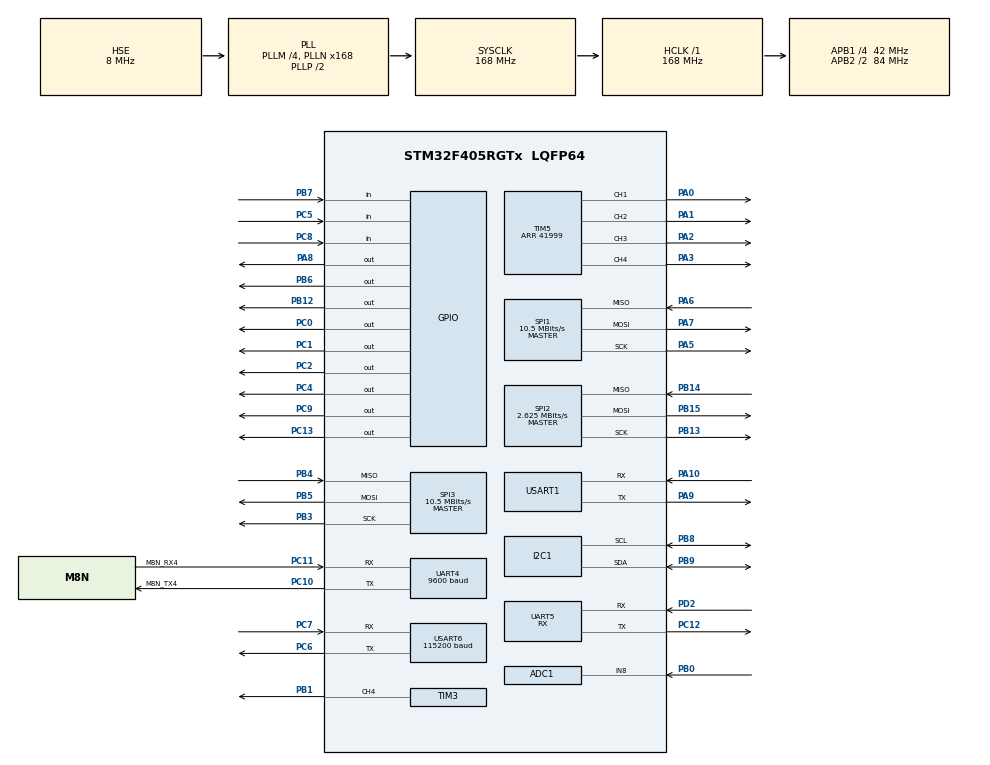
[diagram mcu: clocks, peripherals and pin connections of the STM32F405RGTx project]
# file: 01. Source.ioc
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ADC1.Channel-0\#ChannelRegularConversion=ADC_CHANNEL_8
ADC1.ClockPrescaler=ADC_CLOCK_SYNC_PCLK_DIV8
ADC1.ContinuousConvMode=ENABLE
ADC1.DMAContinuousRequests=ENABLE
ADC1.NbrOfConversion=1
ADC1.NbrOfConversionFlag=1
ADC1.Rank-0\#ChannelRegularConversion=1
ADC1.SamplingTime-0\#ChannelRegularConversion=ADC_SAMPLETIME_480CYCLES
ADC1.master=1
Dma.ADC1.0.Direction=DMA_PERIPH_TO_MEMORY
Dma.ADC1.0.FIFOMode=DMA_FIFOMODE_DISABLE
Dma.ADC1.0.Instance=DMA2_Stream0
Dma.ADC1.0.MemDataAlignment=DMA_MDATAALIGN_HALFWORD
Dma.ADC1.0.MemInc=DMA_MINC_DISABLE
Dma.ADC1.0.Mode=DMA_CIRCULAR
Dma.ADC1.0.PeriphDataAlignment=DMA_PDATAALIGN_HALFWORD
Dma.ADC1.0.PeriphInc=DMA_PINC_DISABLE
Dma.ADC1.0.Priority=DMA_PRIORITY_LOW
Dma.Request0=ADC1
I2C1.I2C_Mode=I2C_Fast
Mcu.Family=STM32F4
Mcu.Name=STM32F405RGTx
Mcu.Package=LQFP64
NVIC.DMA2_Stream0_IRQn=true\:0\:0\:false\:false\:true\:false\:true
NVIC.PriorityGroup=NVIC_PRIORITYGROUP_4
NVIC.TIM7_IRQn=true\:0\:0\:false\:false\:true\:true\:true
NVIC.UART4_IRQn=true\:0\:0\:false\:false\:true\:true\:true
NVIC.UART5_IRQn=true\:0\:0\:false\:false\:true\:true\:true
NVIC.USART1_IRQn=true\:0\:0\:false\:false\:true\:true\:true
NVIC.USART6_IRQn=true\:0\:0\:false\:false\:true\:true\:true
PA0-WKUP.Signal=S_TIM5_CH1
PA1.Signal=S_TIM5_CH2
PA10.Mode=Asynchronous
PA10.Signal=USART1_RX
PA2.Signal=S_TIM5_CH3
PA3.Signal=S_TIM5_CH4
PA5.Mode=Full_Duplex_Master
PA5.Signal=SPI1_SCK
PA6.Mode=Full_Duplex_Master
PA6.Signal=SPI1_MISO
PA7.Mode=Full_Duplex_Master
PA7.Signal=SPI1_MOSI
PA8.Signal=GPIO_Output
PA9.Mode=Asynchronous
PA9.Signal=USART1_TX
PB0.Signal=ADCx_IN8
PB1.Signal=S_TIM3_CH4
PB12.Signal=GPIO_Output
PB13.Mode=Full_Duplex_Master
PB13.Signal=SPI2_SCK
PB14.Mode=Full_Duplex_Master
PB14.Signal=SPI2_MISO
PB15.Mode=Full_Duplex_Master
PB15.Signal=SPI2_MOSI
PB3.Mode=Full_Duplex_Master
PB3.Signal=SPI3_SCK
PB4.Mode=Full_Duplex_Master
PB4.Signal=SPI3_MISO
PB5.Mode=Full_Duplex_Master
PB5.Signal=SPI3_MOSI
PB6.Signal=GPIO_Output
PB7.Signal=GPIO_Input
PB8.Mode=I2C
PB8.Signal=I2C1_SCL
PB9.Mode=I2C
PB9.Signal=I2C1_SDA
PC0.Signal=GPIO_Output
PC1.Signal=GPIO_Output
PC10.GPIO_Label=M8N_TX4
PC10.Mode=Asynchronous
PC10.Signal=UART4_TX
PC11.GPIO_Label=M8N_RX4
PC11.Mode=Asynchronous
PC11.Signal=UART4_RX
PC12.Mode=Asynchronous
PC12.Signal=UART5_TX
PC13-ANTI_TAMP.PinState=GPIO_PIN_SET
PC13-ANTI_TAMP.Signal=GPIO_Output
PC2.Signal=GPIO_Output
PC4.Signal=GPIO_Output
PC5.Signal=GPIO_Input
PC6.Mode=Asynchronous
PC6.Signal=USART6_TX
PC7.Mode=Asynchronous
PC7.Signal=USART6_RX
PC8.Signal=GPIO_Input
PC9.Signal=GPIO_Output
PD2.Mode=Asynchronous
PD2.Signal=UART5_RX
PH0-OSC_IN.Mode=HSE-External-Oscillator
PH0-OSC_IN.Signal=RCC_OSC_IN
PH1-OSC_OUT.Mode=HSE-External-Oscillator
PH1-OSC_OUT.Signal=RCC_OSC_OUT
ProjectManager.HeapSize=0x200
ProjectManager.StackSize=0x400
ProjectManager.TargetToolchain=STM32CubeIDE
RCC.48MHZClocksFreq_Value=84000000
RCC.AHBFreq_Value=168000000
RCC.APB1CLKDivider=RCC_HCLK_DIV4
RCC.APB1Freq_Value=42000000
RCC.APB1TimFreq_Value=84000000
RCC.APB2CLKDivider=RCC_HCLK_DIV2
RCC.APB2Freq_Value=84000000
RCC.APB2TimFreq_Value=168000000
RCC.CortexFreq_Value=168000000
RCC.HCLKFreq_Value=168000000
RCC.HSE_VALUE=8000000
RCC.HSI_VALUE=16000000
RCC.LSE_VALUE=32768
RCC.PLLM=4
RCC.PLLN=168
RCC.PLLSourceVirtual=RCC_PLLSOURCE_HSE
RCC.SYSCLKFreq_VALUE=168000000
RCC.SYSCLKSource=RCC_SYSCLKSOURCE_PLLCLK
RCC.VCOOutputFreq_Value=336000000
SH.ADCx_IN8.0=ADC1_IN8,IN8
SH.S_TIM3_CH4.0=TIM3_CH4,PWM Generation4 CH4
SH.S_TIM5_CH1.0=TIM5_CH1,PWM Generation1 CH1
SH.S_TIM5_CH2.0=TIM5_CH2,PWM Generation2 CH2
SH.S_TIM5_CH3.0=TIM5_CH3,PWM Generation3 CH3
SH.S_TIM5_CH4.0=TIM5_CH4,PWM Generation4 CH4
SPI1.BaudRatePrescaler=SPI_BAUDRATEPRESCALER_8
SPI1.CLKPhase=SPI_PHASE_2EDGE
SPI1.CLKPolarity=SPI_POLARITY_HIGH
SPI1.CalculateBaudRate=10.5 MBits/s
SPI1.Direction=SPI_DIRECTION_2LINES
SPI1.Mode=SPI_MODE_MASTER
SPI1.VirtualType=VM_MASTER
SPI2.BaudRatePrescaler=SPI_BAUDRATEPRESCALER_16
SPI2.CLKPhase=SPI_PHASE_2EDGE
SPI2.CLKPolarity=SPI_POLARITY_HIGH
SPI2.CalculateBaudRate=2.625 MBits/s
SPI2.Direction=SPI_DIRECTION_2LINES
SPI2.Mode=SPI_MODE_MASTER
SPI2.VirtualType=VM_MASTER
SPI3.BaudRatePrescaler=SPI_BAUDRATEPRESCALER_4
SPI3.CLKPhase=SPI_PHASE_2EDGE
SPI3.CLKPolarity=SPI_POLARITY_HIGH
SPI3.CalculateBaudRate=10.5 MBits/s
SPI3.Direction=SPI_DIRECTION_2LINES
SPI3.Mode=SPI_MODE_MASTER
SPI3.VirtualType=VM_MASTER
TIM3.AutoReloadPreload=TIM_AUTORELOAD_PRELOAD_ENABLE
TIM3.Channel-PWM\ Generation4\ CH4=TIM_CHANNEL_4
TIM3.OCFastMode_PWM-PWM\ Generation4\ CH4=TIM_OCFAST_ENABLE
TIM3.Period=20
TIM3.Prescaler=999
TIM3.Pulse-PWM\ Generation4\ CH4=10
TIM5.AutoReloadPreload=TIM_AUTORELOAD_PRELOAD_ENABLE
TIM5.Channel-PWM\ Generation1\ CH1=TIM_CHANNEL_1
TIM5.Channel-PWM\ Generation2\ CH2=TIM_CHANNEL_2
TIM5.Channel-PWM\ Generation3\ CH3=TIM_CHANNEL_3
TIM5.Channel-PWM\ Generation4\ CH4=TIM_CHANNEL_4
TIM5.OC2Preload_PWM=ENABLE
TIM5.OCFastMode_PWM-PWM\ Generation1\ CH1=TIM_OCFAST_ENABLE
TIM5.OCFastMode_PWM-PWM\ Generation2\ CH2=TIM_OCFAST_ENABLE
TIM5.OCFastMode_PWM-PWM\ Generation3\ CH3=TIM_OCFAST_ENABLE
TIM5.OCFastMode_PWM-PWM\ Generation4\ CH4=TIM_OCFAST_ENABLE
TIM5.Period=41999
TIM5.Pulse-PWM\ Generation1\ CH1=0
TIM5.Pulse-PWM\ Generation2\ CH2=0
TIM5.Pulse-PWM\ Generation3\ CH3=0
TIM7.AutoReloadPreload=TIM_AUTORELOAD_PRELOAD_ENABLE
TIM7.Period=1
TIM7.Prescaler=41999
UART4.BaudRate=9600
UART4.VirtualMode=Asynchronous
UART5.Mode=MODE_RX
UART5.VirtualMode=Asynchronous
USART1.VirtualMode=VM_ASYNC
USART6.BaudRate=115200
USART6.VirtualMode=VM_ASYNC
VP_TIM3_VS_ClockSourceINT.Mode=Internal
VP_TIM5_VS_ClockSourceINT.Mode=Internal
VP_TIM7_VS_ClockSourceINT.Mode=Enable_Timer
board=custom

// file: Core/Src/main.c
/* USER CODE BEGIN Header */
/**
  ******************************************************************************
  * @file           : main.c
  * @brief          : Main program body
  ******************************************************************************
  * @attention
  *
  * <h2><center>&copy; Copyright (c) 2020 STMicroelectronics.
  * All rights reserved.</center></h2>
  *
  * This software component is licensed by ST under BSD 3-Clause license,
  * the "License"; You may not use this file except in compliance with the
  * License. You may obtain a copy of the License at:
  *                        opensource.org/licenses/BSD-3-Clause
  *
  ******************************************************************************
  */
/* USER CODE END Header */

#include "main.h"
#include "adc.h"
#include "dma.h"
#include "i2c.h"
#include "spi.h"
#include "tim.h"
#include "usart.h"
#include "gpio.h"

/* USER CODE BEGIN Includes */
#include "BNO080.h"
#include "Quaternion.h"
#include "ICM20602.h"
#include "LPS22HH.h"
#include "M8N.h"
#include "FS-iA6B.h"
#include "AT24C08.h"
#include <string.h>
/* USER CODE END Includes */

/* USER CODE BEGIN PTD */
int _write(int file, char* p, int len)
{
	for(int i=0;i<len;i++)
	{
		while(!LL_USART_IsActiveFlag_TXE(USART6));
		LL_USART_TransmitData8(USART6,*(p+i));
	}
	return len;
}
/* USER CODE END PTD */

/* USER CODE BEGIN PV */
extern M8N_UBX_NAV_POSLLH posllh;
extern uint8_t	uart6_rx_flag;
extern uint8_t 	uart6_rx_data;
extern uint8_t	uart4_rx_flag;
extern uint8_t 	uart4_rx_data;
extern uint8_t m8n_rx_buf[36];
extern uint8_t m8n_rx_cplt_flag;
extern uint8_t ibus_rx_buf[32];
extern uint8_t ibus_rx_cplt_flag;
extern uint8_t uart1_rx_data;
extern uint8_t tim7_20ms_flag;
extern uint8_t tim7_100ms_flag;

uint8_t telemetry_tx_buf[40];
uint8_t telemetry_rx_buf[20];
uint8_t telemetry_rx_cplt_flag;
float batVolt;

float roll_in_kp;
float roll_in_ki;
float roll_in_kd;

float roll_out_kp;
float roll_out_ki;
float roll_out_kd;

float pitch_in_kp;
float pitch_in_ki;
float pitch_in_kd;

float pitch_out_kp;
float pitch_out_ki;
float pitch_out_kd;

float yaw_heading_kp;
float yaw_heading_ki;
float yaw_heading_kd;

float yaw_rate_kp;
float yaw_rate_ki;
float yaw_rate_kd;
/* USER CODE END PV */

void SystemClock_Config(void);
/* USER CODE BEGIN PFP */
int Is_iBus_Throttle_Min(void);
void ESC_Calibration(void);
int Is_iBus_Received(void);
void BNO080_Calibration(void);
void Encode_Msg_AHRS(unsigned char* telemetry_tx_buf);
void Encode_Msg_GPS(unsigned char* telemetry_tx_buf);
void Encode_Msg_PID_Gain(unsigned char* telemetry_tx_buf, unsigned char id, float p, float i, float d);
/* USER CODE END PFP */

int main(void)
{
  /* USER CODE BEGIN 1 */
	float q[4];
	float quatRadianAccuray;
	unsigned char buf_read[16] = {0};
	unsigned char buf_write[20] = {1, 2, 3, 4, 5, 6, 7, 8, 9, 10, 11, 12, 13, 14, 15, 16};
	unsigned short adcVal;
	short gyro_x_offset = -39, gyro_y_offset = -7, gyro_z_offset = -5;

	unsigned char motor_arming_flag = 0;
	unsigned short iBus_SwA_Prev = 0;
  /* USER CODE END 1 */

  /* MCU Configuration--------------------------------------------------------*/

  /* Reset of all peripherals, Initializes the Flash interface and the Systick. */
  HAL_Init();

  /* Configure the system clock */
  SystemClock_Config();

  /* Initialize all configured peripherals */
  MX_GPIO_Init();
  MX_DMA_Init();
  MX_TIM3_Init();
  MX_USART6_UART_Init();
  MX_SPI2_Init();
  MX_SPI1_Init();
  MX_SPI3_Init();
  MX_UART4_Init();
  MX_UART5_Init();
  MX_TIM5_Init();
  MX_I2C1_Init();
  MX_ADC1_Init();
  MX_USART1_UART_Init();
  MX_TIM7_Init();
  /* USER CODE BEGIN 2 */
  LL_TIM_EnableCounter(TIM3); // Buzzer

  LL_USART_EnableIT_RXNE(USART6); // Debug UART
  LL_USART_EnableIT_RXNE(UART4); // GPS
  LL_USART_EnableIT_RXNE(UART5); // FS-iA6B

  LL_TIM_EnableCounter(TIM5); // Motor PWM
  LL_TIM_CC_EnableChannel(TIM5, LL_TIM_CHANNEL_CH1);
  LL_TIM_CC_EnableChannel(TIM5, LL_TIM_CHANNEL_CH2);
  LL_TIM_CC_EnableChannel(TIM5, LL_TIM_CHANNEL_CH3);
  LL_TIM_CC_EnableChannel(TIM5, LL_TIM_CHANNEL_CH4);

  HAL_ADC_Start_DMA(&hadc1, &adcVal, 1); // Battery ADC

  //after calling this func at this point, callback function of rxreceived will start to be called when UART RX received.
  //so, this line is just a preparation... (nothing received here, of course)
  // GCS - PC 3DR Telemetry UART
  HAL_UART_Receive_IT(&huart1, &uart1_rx_data, 1); // Telemetry

  LL_TIM_EnableCounter(TIM7); // 10Hz, 50Hz, 1kHz loop
  LL_TIM_EnableIT_UPDATE(TIM7);

  TIM3->PSC = 1000;
  LL_TIM_CC_EnableChannel(TIM3, LL_TIM_CHANNEL_CH4);
  HAL_Delay(60);
  LL_TIM_CC_DisableChannel(TIM3, LL_TIM_CHANNEL_CH4);
  HAL_Delay(60);
  LL_TIM_CC_EnableChannel(TIM3, LL_TIM_CHANNEL_CH4);
  HAL_Delay(60);
  LL_TIM_CC_DisableChannel(TIM3, LL_TIM_CHANNEL_CH4);
  HAL_Delay(60);
  printf("Checking sensor connection..\n");

  if(BNO080_Initialization() != 0)
  {
	  LL_TIM_CC_EnableChannel(TIM3, LL_TIM_CHANNEL_CH4);

	  TIM3->PSC = 1000;
	  HAL_Delay(100);
	  TIM3->PSC=1500;
	  HAL_Delay(100);
	  TIM3->PSC=2000;
	  HAL_Delay(100);

	  LL_TIM_CC_DisableChannel(TIM3, LL_TIM_CHANNEL_CH4);

	  printf("\nBNO080 failed. Program shutting down...");
	  while(1)
	  {
		  LL_TIM_CC_DisableChannel(TIM3, LL_TIM_CHANNEL_CH4);
		  LL_GPIO_TogglePin(GPIOC, LL_GPIO_PIN_0);
		  HAL_Delay(200);
		  LL_TIM_CC_EnableChannel(TIM3, LL_TIM_CHANNEL_CH4);
		  LL_GPIO_TogglePin(GPIOC, LL_GPIO_PIN_0);
		  HAL_Delay(200);
	  }
  }
  BNO080_enableGameRotationVector(2500); // 400 times per sec

  if(ICM20602_Initialization() != 0)
  {
	  LL_TIM_CC_EnableChannel(TIM3, LL_TIM_CHANNEL_CH4);

	  TIM3->PSC = 1000;
	  HAL_Delay(100);
	  TIM3->PSC=1500;
	  HAL_Delay(100);
	  TIM3->PSC=2000;
	  HAL_Delay(100);

	  LL_TIM_CC_DisableChannel(TIM3, LL_TIM_CHANNEL_CH4);

	  printf("\nICM20602 failed. Program shutting down...");
	  while(1)
	  {
		  LL_TIM_CC_DisableChannel(TIM3, LL_TIM_CHANNEL_CH4);
		  LL_GPIO_TogglePin(GPIOC, LL_GPIO_PIN_1);
		  HAL_Delay(200);
		  LL_TIM_CC_EnableChannel(TIM3, LL_TIM_CHANNEL_CH4);
		  LL_GPIO_TogglePin(GPIOC, LL_GPIO_PIN_1);
		  HAL_Delay(200);
	  }
  }
  if(LPS22HH_Initialization() != 0)
  {
	  LL_TIM_CC_EnableChannel(TIM3, LL_TIM_CHANNEL_CH4);

	  TIM3->PSC = 1000;
	  HAL_Delay(100);
	  TIM3->PSC=1500;
	  HAL_Delay(100);
	  TIM3->PSC=2000;
	  HAL_Delay(100);

	  LL_TIM_CC_DisableChannel(TIM3, LL_TIM_CHANNEL_CH4);

	  printf("\nLPS22HH failed. Program shutting down...");
	  while(1)
	  {
		  LL_TIM_CC_DisableChannel(TIM3, LL_TIM_CHANNEL_CH4);
		  LL_GPIO_TogglePin(GPIOC, LL_GPIO_PIN_2);
		  HAL_Delay(200);
		  LL_TIM_CC_EnableChannel(TIM3, LL_TIM_CHANNEL_CH4);
		  LL_GPIO_TogglePin(GPIOC, LL_GPIO_PIN_2);
		  HAL_Delay(200);
	  }
  }

  printf("All sensor OK!\n\n");

  M8N_UBX_Initialization();

  // ICM20602 offset calibration//
  // ICM20602 chip's address is organised 8bit-unit as Big Endian type
  // it is valid that "value*-2" is supposed to be saved in the address (don't know the reason)
  ICM20602_Writebyte(0x13, (gyro_x_offset*-2)>>8);
  ICM20602_Writebyte(0x14, (gyro_x_offset*-2));
  ICM20602_Writebyte(0x15, (gyro_y_offset*-2)>>8);
  ICM20602_Writebyte(0x16, (gyro_y_offset*-2));
  ICM20602_Writebyte(0x17, (gyro_z_offset*-2)>>8);
  ICM20602_Writebyte(0x18, (gyro_z_offset*-2));

  printf("Loading PID Gain...\n");

  if(EP_PIDGain_Read(0, &roll_in_kp, &roll_in_ki, &roll_in_kd) != 0 ||
		  EP_PIDGain_Read(1, &roll_out_kp, &roll_out_ki, &roll_out_kd) != 0 ||
		  EP_PIDGain_Read(2, &pitch_in_kp, &pitch_in_ki, &pitch_in_kd) != 0 ||
		  EP_PIDGain_Read(3, &pitch_out_kp, &pitch_out_ki, &pitch_out_kd) != 0 ||
		  EP_PIDGain_Read(4, &yaw_heading_kp, &yaw_heading_ki, &yaw_heading_kd) != 0 ||
		  EP_PIDGain_Read(5, &yaw_rate_kp, &yaw_rate_ki, &yaw_rate_kd) != 0)
  {
	  LL_TIM_CC_EnableChannel(TIM3, LL_TIM_CHANNEL_CH4);

	  TIM3->PSC = 1000;
	  HAL_Delay(100);
	  TIM3->PSC=1500;
	  HAL_Delay(100);
	  TIM3->PSC=2000;
	  HAL_Delay(100);

	  LL_TIM_CC_DisableChannel(TIM3, LL_TIM_CHANNEL_CH4);

	  HAL_Delay(500);
	  printf("\nCouldn't load PID gain.\n");
  }
  else
  {
	  Encode_Msg_PID_Gain(&telemetry_tx_buf[0], 0, roll_in_kp, roll_in_ki, roll_in_kd);
	  HAL_UART_Transmit(&huart1, &telemetry_tx_buf[0], 20, 10);
	  Encode_Msg_PID_Gain(&telemetry_tx_buf[0], 1, roll_out_kp, roll_out_ki, roll_out_kd);
	  HAL_UART_Transmit(&huart1, &telemetry_tx_buf[0], 20, 10);
	  Encode_Msg_PID_Gain(&telemetry_tx_buf[0], 2, pitch_in_kp, pitch_in_ki, pitch_in_kd);
	  HAL_UART_Transmit(&huart1, &telemetry_tx_buf[0], 20, 10);
	  Encode_Msg_PID_Gain(&telemetry_tx_buf[0], 3, pitch_out_kp, pitch_out_ki, pitch_out_kd);
	  HAL_UART_Transmit(&huart1, &telemetry_tx_buf[0], 20, 10);
	  Encode_Msg_PID_Gain(&telemetry_tx_buf[0], 4, yaw_heading_kp, yaw_heading_ki, yaw_heading_kd);
	  HAL_UART_Transmit(&huart1, &telemetry_tx_buf[0], 20, 10);
	  Encode_Msg_PID_Gain(&telemetry_tx_buf[0], 5, yaw_rate_kp, yaw_rate_ki, yaw_rate_kd);
	  HAL_UART_Transmit(&huart1, &telemetry_tx_buf[0], 20, 10);
	  printf("\nAll gains OK!\n\n");
  }

  while(Is_iBus_Received() == 0)
  {
	  LL_TIM_CC_EnableChannel(TIM3, LL_TIM_CHANNEL_CH4);

	  TIM3->PSC=3000;
	  HAL_Delay(200);
	  LL_TIM_CC_DisableChannel(TIM3, LL_TIM_CHANNEL_CH4);
	  HAL_Delay(200);
  }
  if(iBus.SwC == 2000)
  {
	  LL_TIM_CC_EnableChannel(TIM3, LL_TIM_CHANNEL_CH4);

	  TIM3->PSC = 1500;
	  HAL_Delay(200);
	  TIM3->PSC = 2000;
	  HAL_Delay(200);
	  TIM3->PSC = 1500;
	  HAL_Delay(200);
	  TIM3->PSC = 2000;
	  HAL_Delay(200);
	  LL_TIM_CC_DisableChannel(TIM3, LL_TIM_CHANNEL_CH4);

	  ESC_Calibration();
	  while(iBus.SwC != 1000)
	  {
		  Is_iBus_Received();
		  LL_TIM_CC_EnableChannel(TIM3, LL_TIM_CHANNEL_CH4);

		  TIM3->PSC = 1500;
		  HAL_Delay(200);
		  TIM3->PSC = 2000;
		  HAL_Delay(200);
		  LL_TIM_CC_DisableChannel(TIM3, LL_TIM_CHANNEL_CH4);
	  }
  }
  else if(iBus.SwC == 1500)
  {
	  LL_TIM_CC_EnableChannel(TIM3, LL_TIM_CHANNEL_CH4);

	  TIM3->PSC = 1500;
	  HAL_Delay(200);
	  TIM3->PSC = 2000;
	  HAL_Delay(200);
	  TIM3->PSC = 1500;
	  HAL_Delay(200);
	  TIM3->PSC = 2000;
	  HAL_Delay(200);
	  LL_TIM_CC_DisableChannel(TIM3, LL_TIM_CHANNEL_CH4);

	  BNO080_Calibration();
	  while(iBus.SwC != 1000)
	  {
		  Is_iBus_Received();
		  LL_TIM_CC_EnableChannel(TIM3, LL_TIM_CHANNEL_CH4);

		  TIM3->PSC = 1500;
		  HAL_Delay(200);
		  TIM3->PSC = 2000;
		  HAL_Delay(200);
		  LL_TIM_CC_DisableChannel(TIM3, LL_TIM_CHANNEL_CH4);
	  }
  }

  while(Is_iBus_Throttle_Min() == 0 || iBus.SwA == 2000) // Protect from switch A in driving mode when booting
  {
	  LL_TIM_CC_EnableChannel(TIM3, LL_TIM_CHANNEL_CH4);

	  TIM3->PSC = 1000;
	  HAL_Delay(70);
	  LL_TIM_CC_DisableChannel(TIM3, LL_TIM_CHANNEL_CH4);
	  HAL_Delay(70);
  }

  LL_TIM_CC_EnableChannel(TIM3, LL_TIM_CHANNEL_CH4);

  TIM3->PSC = 2000; // 2kHz
  HAL_Delay(100);
  TIM3->PSC=1500;  // 3kHz
  HAL_Delay(100);
  TIM3->PSC=1000; // 4kHz
  HAL_Delay(100);

  LL_TIM_CC_DisableChannel(TIM3, LL_TIM_CHANNEL_CH4);

  printf("Start\n");

  /* USER CODE END 2 */

  /* Infinite loop */
  while (1)
  {

    /* USER CODE BEGIN 3 */
	  // Motor PWM Control - Arming
	  if (iBus.SwA == 2000 && iBus_SwA_Prev != 2000) // a little bit motor driving in order to alert arming mode to user when switch A is on
	  {
		  if (iBus.LV < 1010)
		  {
			  motor_arming_flag = 1;
		  }
		  else // buzzer
		  {
			  LL_TIM_CC_EnableChannel(TIM3, LL_TIM_CHANNEL_CH4);

			  TIM3->PSC = 1000;
			  HAL_Delay(70);
			  LL_TIM_CC_DisableChannel(TIM3, LL_TIM_CHANNEL_CH4);
			  HAL_Delay(70);
		  }
	  }
	  iBus_SwA_Prev = iBus.SwA;

	  if (iBus.SwA != 2000) //Disarming
	  {
		  // motor stop
		  motor_arming_flag = 0;
	  }

	  if (motor_arming_flag == 1)
	  {
		  TIM5->CCR1 = 10500 + 500 + (iBus.LV - 1000) * 10.5f;
		  TIM5->CCR2 = 10500 + 500 + (iBus.LV - 1000) * 10.5f;
		  TIM5->CCR3 = 10500 + 500 + (iBus.LV - 1000) * 10.5f;
		  TIM5->CCR4 = 10500 + 500 + (iBus.LV - 1000) * 10.5f;
	  }
	  else
	  {
		  TIM5->CCR1 = 10500;
		  TIM5->CCR2 = 10500;
		  TIM5->CCR3 = 10500;
		  TIM5->CCR4 = 10500;
	  }

	  if(telemetry_rx_cplt_flag == 1) //Receive GCS Message
	  {
		  telemetry_rx_cplt_flag = 0;

		  if(iBus.SwA == 1000) //Check FS-i6 Switch A
		  {
			  unsigned char chksum = 0xff;
			  for(int i=0;i<19;i++) chksum = chksum - telemetry_rx_buf[i];

			  if(chksum == telemetry_rx_buf[19]) //Check checksum of GCS Message
			  {
				  LL_TIM_CC_EnableChannel(TIM3, LL_TIM_CHANNEL_CH4);

				  TIM3->PSC = 1000;
				  HAL_Delay(10);

				  LL_TIM_CC_DisableChannel(TIM3, LL_TIM_CHANNEL_CH4);

				  switch(telemetry_rx_buf[2]) //Check ID of GCS Message
				  {
				  case 0:
					  roll_in_kp = *(float*)&telemetry_rx_buf[3];
					  roll_in_ki = *(float*)&telemetry_rx_buf[7];
					  roll_in_kd = *(float*)&telemetry_rx_buf[11];
					  EP_PIDGain_Write(telemetry_rx_buf[2], 3, 4, 5);
					  EP_PIDGain_Read(telemetry_rx_buf[2], &roll_in_kp, &roll_in_ki, &roll_in_kd);
					  Encode_Msg_PID_Gain(&telemetry_tx_buf[0], telemetry_rx_buf[2], roll_in_kp, roll_in_ki, roll_in_kd);
					  HAL_UART_Transmit_IT(&huart1, &telemetry_tx_buf[0], 20);
					  break;
				  case 1:
					  roll_out_kp = *(float*)&telemetry_rx_buf[3];
					  roll_out_ki = *(float*)&telemetry_rx_buf[7];
					  roll_out_kd = *(float*)&telemetry_rx_buf[11];
					  EP_PIDGain_Write(telemetry_rx_buf[2], roll_out_kp, roll_out_ki, roll_out_kd);
					  EP_PIDGain_Read(telemetry_rx_buf[2], &roll_out_kp, &roll_out_ki, &roll_out_kd);
					  Encode_Msg_PID_Gain(&telemetry_tx_buf[0], telemetry_rx_buf[2], roll_out_kp, roll_out_ki, roll_out_kd);
					  HAL_UART_Transmit_IT(&huart1, &telemetry_tx_buf[0], 20);
					  break;
				  case 2:
					  pitch_in_kp = *(float*)&telemetry_rx_buf[3];
					  pitch_in_ki = *(float*)&telemetry_rx_buf[7];
					  pitch_in_kd = *(float*)&telemetry_rx_buf[11];
					  EP_PIDGain_Write(telemetry_rx_buf[2], pitch_in_kp, pitch_in_ki, pitch_in_kd);
					  EP_PIDGain_Read(telemetry_rx_buf[2], &pitch_in_kp, &pitch_in_ki, &pitch_in_kd);
					  Encode_Msg_PID_Gain(&telemetry_tx_buf[0], telemetry_rx_buf[2], pitch_in_kp, pitch_in_ki, pitch_in_kd);
					  HAL_UART_Transmit_IT(&huart1, &telemetry_tx_buf[0], 20);
					  break;
				  case 3:
					  pitch_out_kp = *(float*)&telemetry_rx_buf[3];
					  pitch_out_ki = *(float*)&telemetry_rx_buf[7];
					  pitch_out_kd = *(float*)&telemetry_rx_buf[11];
					  EP_PIDGain_Write(telemetry_rx_buf[2], pitch_out_kp, pitch_out_ki, pitch_out_kd);
					  EP_PIDGain_Read(telemetry_rx_buf[2], &pitch_out_kp, &pitch_out_ki, &pitch_out_kd);
					  Encode_Msg_PID_Gain(&telemetry_tx_buf[0], telemetry_rx_buf[2], pitch_out_kp, pitch_out_ki, pitch_out_kd);
					  HAL_UART_Transmit_IT(&huart1, &telemetry_tx_buf[0], 20);
					  break;
				  case 4:
					  yaw_heading_kp = *(float*)&telemetry_rx_buf[3];
					  yaw_heading_ki = *(float*)&telemetry_rx_buf[7];
					  yaw_heading_kd = *(float*)&telemetry_rx_buf[11];
					  EP_PIDGain_Write(telemetry_rx_buf[2], yaw_heading_kp, yaw_heading_ki, yaw_heading_kd);
					  EP_PIDGain_Read(telemetry_rx_buf[2], &yaw_heading_kp, &yaw_heading_ki, &yaw_heading_kd);
					  Encode_Msg_PID_Gain(&telemetry_tx_buf[0], telemetry_rx_buf[2], yaw_heading_kp, yaw_heading_ki, yaw_heading_kd);
					  HAL_UART_Transmit_IT(&huart1, &telemetry_tx_buf[0], 20);
					  break;
				  case 5:
					  yaw_rate_kp = *(float*)&telemetry_rx_buf[3];
					  yaw_rate_ki = *(float*)&telemetry_rx_buf[7];
					  yaw_rate_kd = *(float*)&telemetry_rx_buf[11];
					  EP_PIDGain_Write(telemetry_rx_buf[2], yaw_rate_kp, yaw_rate_ki, yaw_rate_kd);
					  EP_PIDGain_Read(telemetry_rx_buf[2], &yaw_rate_kp, &yaw_rate_ki, &yaw_rate_kd);
					  Encode_Msg_PID_Gain(&telemetry_tx_buf[0], telemetry_rx_buf[2], yaw_rate_kp, yaw_rate_ki, yaw_rate_kd);
					  HAL_UART_Transmit_IT(&huart1, &telemetry_tx_buf[0], 20);
					  break;
				  case 0x10:
					  switch(telemetry_rx_buf[3]) //Check PID Gain ID of GCS PID Gain Request Message
					  {
					  case 0:
						  Encode_Msg_PID_Gain(&telemetry_tx_buf[0], telemetry_rx_buf[3], roll_in_kp, roll_in_ki, roll_in_kd);
						  HAL_UART_Transmit(&huart1, &telemetry_tx_buf[0], 20, 10);
						  break;
					  case 1:
						  Encode_Msg_PID_Gain(&telemetry_tx_buf[0], telemetry_rx_buf[3], roll_out_kp, roll_out_ki, roll_out_kd);
						  HAL_UART_Transmit(&huart1, &telemetry_tx_buf[0], 20, 10);
						  break;
					  case 2:
						  Encode_Msg_PID_Gain(&telemetry_tx_buf[0], telemetry_rx_buf[3], pitch_in_kp, pitch_in_ki, pitch_in_kd);
						  HAL_UART_Transmit(&huart1, &telemetry_tx_buf[0], 20, 10);
						  break;
					  case 3:
						  Encode_Msg_PID_Gain(&telemetry_tx_buf[0], telemetry_rx_buf[3], pitch_out_kp, pitch_out_ki, pitch_out_kd);
						  HAL_UART_Transmit(&huart1, &telemetry_tx_buf[0], 20, 10);
						  break;
					  case 4:
						  Encode_Msg_PID_Gain(&telemetry_tx_buf[0], telemetry_rx_buf[3], yaw_heading_kp, yaw_heading_ki, yaw_heading_kd);
						  HAL_UART_Transmit(&huart1, &telemetry_tx_buf[0], 20, 10);
						  break;
					  case 5:
						  Encode_Msg_PID_Gain(&telemetry_tx_buf[0], telemetry_rx_buf[3], yaw_rate_kp, yaw_rate_ki, yaw_rate_kd);
						  HAL_UART_Transmit(&huart1, &telemetry_tx_buf[0], 20, 10);
						  break;
					  case 6:
						  Encode_Msg_PID_Gain(&telemetry_tx_buf[0], 0, roll_in_kp, roll_in_ki, roll_in_kd);
						  HAL_UART_Transmit(&huart1, &telemetry_tx_buf[0], 20, 10);
						  Encode_Msg_PID_Gain(&telemetry_tx_buf[0], 1, roll_out_kp, roll_out_ki, roll_out_kd);
						  HAL_UART_Transmit(&huart1, &telemetry_tx_buf[0], 20, 10);
						  Encode_Msg_PID_Gain(&telemetry_tx_buf[0], 2, pitch_in_kp, pitch_in_ki, pitch_in_kd);
						  HAL_UART_Transmit(&huart1, &telemetry_tx_buf[0], 20, 10);
						  Encode_Msg_PID_Gain(&telemetry_tx_buf[0], 3, pitch_out_kp, pitch_out_ki, pitch_out_kd);
						  HAL_UART_Transmit(&huart1, &telemetry_tx_buf[0], 20, 10);
						  Encode_Msg_PID_Gain(&telemetry_tx_buf[0], 4, yaw_heading_kp, yaw_heading_ki, yaw_heading_kd);
						  HAL_UART_Transmit(&huart1, &telemetry_tx_buf[0], 20, 10);
						  Encode_Msg_PID_Gain(&telemetry_tx_buf[0], 5, yaw_rate_kp, yaw_rate_ki, yaw_rate_kd);
						  HAL_UART_Transmit(&huart1, &telemetry_tx_buf[0], 20, 10);
						  break;
					  }
					  break;

				  }
			  }
		  }
	  }

	  if(tim7_20ms_flag == 1 && tim7_100ms_flag != 1) // To handle non-blocking methond (Transmit_IT)
	  {
		  tim7_20ms_flag = 0;
		  // protecting from missing received message for GCS, gap between TX sending is determined as 20ms
		  Encode_Msg_AHRS(&telemetry_tx_buf[0]);
		  HAL_UART_Transmit_IT(&huart1, &telemetry_tx_buf[0], 20);
	  }

	  else if(tim7_20ms_flag == 1 && tim7_100ms_flag == 1) // To handle non-blocking methond (Transmit_IT)
	  {
		  tim7_20ms_flag = 0;
		  tim7_100ms_flag = 0;

		  Encode_Msg_AHRS(&telemetry_tx_buf[0]);
		  Encode_Msg_GPS(&telemetry_tx_buf[20]);

		  HAL_UART_Transmit_IT(&huart1, &telemetry_tx_buf[0], 40);
	  }

	  batVolt = adcVal * 0.003619f;
	  //printf("Battery V: (ADC) %d  (REAL) %.2f\n", adcVal, batVolt);
	  if(batVolt <10.0f)
	  {
		  //TIM3->PSC = 1000;
		  //LL_TIM_CC_EnableChannel(TIM3, LL_TIM_CHANNEL_CH4);
	  }
	  else
	  {
		  LL_TIM_CC_DisableChannel(TIM3, LL_TIM_CHANNEL_CH4);
	  }

	  if(BNO080_dataAvailable() == 1)
	  {
		  LL_GPIO_TogglePin(GPIOC, LL_GPIO_PIN_0);
		  q[0] = BNO080_getQuatI();
		  q[1] = BNO080_getQuatJ();
		  q[2] = BNO080_getQuatK();
		  q[3] = BNO080_getQuatReal();
		  quatRadianAccuray = BNO080_getQuatAccuracy();

		  Quaternion_Update(&q[0]);

//		  printf("%.2f\t%.2f\n", BNO080_Roll, BNO080_Pitch);
//		  printf("%.2f\n", BNO080_Yaw);
	  }
	  if(ICM20602_DataReady() == 1)
	  {
		  ICM20602_Get3AxisGyroRawData(&ICM20602.gyro_x_raw);

		  ICM20602.gyro_x = ICM20602.gyro_x_raw = 2000.f / 32768.f;
		  ICM20602.gyro_y = ICM20602.gyro_y_raw = 2000.f / 32768.f;
		  ICM20602.gyro_z = ICM20602.gyro_z_raw = 2000.f / 32768.f;

		  //printf("%d, %d, %d\n", ICM20602.gyro_x_raw, ICM20602.gyro_y_raw, ICM20602.gyro_z_raw);
		  //printf("%d, %d, %d\n", (int)(ICM20602.gyro_x*100), (int)(ICM20602.gyro_y*100), (int)(ICM20602.gyro_z*100));
	  }
	  if(LPS22HH_DataReady() == 1)
	  {
		  LPS22HH_GetPressure(&LPS22HH.pressure_raw);
		  LPS22HH_GetTemperature(&LPS22HH.temperature_raw);

		  LPS22HH.baroAlt = getAltitude2(LPS22HH.pressure_raw/4096.f, LPS22HH.temperature_raw/100.f);
#define X 0.90f
		  LPS22HH.baroAltFilt = LPS22HH.baroAltFilt * X + LPS22HH.baroAlt * (1.0f - X);

		  //printf("%d, %d\n", (int)(LPS22HH.baroAlt*100),(int)(LPS22HH.baroAltFilt*100));
	  }

	  if(m8n_rx_cplt_flag == 1)
	  {
		  m8n_rx_cplt_flag = 0;

		  if(M8N_UBX_CHKSUM_Check(&m8n_rx_buf[0],36) == 1)
		  {
			  LL_GPIO_TogglePin(GPIOC, LL_GPIO_PIN_2);
			  M8N_UBX_NAV_POSLLH_Parsing(&m8n_rx_buf[0],&posllh);

			  //printf("LAT: %ld\tLON: %ld\tHeight: %ld\n", posllh.lat, posllh.lon, posllh.height);
		  }
	  }

	  if(ibus_rx_cplt_flag == 1)
	  {
		  ibus_rx_cplt_flag = 0;
		  if(iBus_Check_CHKSUM(&ibus_rx_buf[0],32) == 1)
		  {
			  LL_GPIO_TogglePin(GPIOC, LL_GPIO_PIN_2);

			  iBus_Parsing(&ibus_rx_buf[0], &iBus);

			  if(iBus_isActiveFailsafe(&iBus) == 1)
			  {
				  LL_TIM_CC_EnableChannel(TIM3, LL_TIM_CHANNEL_CH4);
			  }
			  else
			  {
				  LL_TIM_CC_DisableChannel(TIM3, LL_TIM_CHANNEL_CH4);
			  }
//			  printf("%d\t%d\t%d\t%d\t%d\t%d\n",
//					  iBus.RH, iBus.RV, iBus.LV, iBus.LH, iBus.SwA, iBus.SwC);
//			  HAL_Delay(30);
		  }
	  }
  }
  /* USER CODE END 3 */
}

void SystemClock_Config(void)
{
  RCC_OscInitTypeDef RCC_OscInitStruct = {0};
  RCC_ClkInitTypeDef RCC_ClkInitStruct = {0};

  /** Configure the main internal regulator output voltage
  */
  __HAL_RCC_PWR_CLK_ENABLE();
  __HAL_PWR_VOLTAGESCALING_CONFIG(PWR_REGULATOR_VOLTAGE_SCALE1);
  /** Initializes the CPU, AHB and APB busses clocks
  */
  RCC_OscInitStruct.OscillatorType = RCC_OSCILLATORTYPE_HSE;
  RCC_OscInitStruct.HSEState = RCC_HSE_ON;
  RCC_OscInitStruct.PLL.PLLState = RCC_PLL_ON;
  RCC_OscInitStruct.PLL.PLLSource = RCC_PLLSOURCE_HSE;
  RCC_OscInitStruct.PLL.PLLM = 4;
  RCC_OscInitStruct.PLL.PLLN = 168;
  RCC_OscInitStruct.PLL.PLLP = RCC_PLLP_DIV2;
  RCC_OscInitStruct.PLL.PLLQ = 4;
  if (HAL_RCC_OscConfig(&RCC_OscInitStruct) != HAL_OK)
  {
    Error_Handler();
  }
  /** Initializes the CPU, AHB and APB busses clocks
  */
  RCC_ClkInitStruct.ClockType = RCC_CLOCKTYPE_HCLK|RCC_CLOCKTYPE_SYSCLK
                              |RCC_CLOCKTYPE_PCLK1|RCC_CLOCKTYPE_PCLK2;
  RCC_ClkInitStruct.SYSCLKSource = RCC_SYSCLKSOURCE_PLLCLK;
  RCC_ClkInitStruct.AHBCLKDivider = RCC_SYSCLK_DIV1;
  RCC_ClkInitStruct.APB1CLKDivider = RCC_HCLK_DIV4;
  RCC_ClkInitStruct.APB2CLKDivider = RCC_HCLK_DIV2;

  if (HAL_RCC_ClockConfig(&RCC_ClkInitStruct, FLASH_LATENCY_5) != HAL_OK)
  {
    Error_Handler();
  }
}

/* USER CODE BEGIN 4 */
int Is_iBus_Throttle_Min(void)
{
	if(ibus_rx_cplt_flag == 1)
	{
		ibus_rx_cplt_flag = 0;
		if(iBus_Check_CHKSUM(&ibus_rx_buf[0],32) == 1)
		{
			iBus_Parsing(&ibus_rx_buf[0], &iBus);
			if(iBus.LV < 1010) return 1;

		}
	}

	return 0;
}

void ESC_Calibration(void)
{
	  TIM5->CCR1 = 21000;
	  TIM5->CCR2 = 21000;
	  TIM5->CCR3 = 21000;
	  TIM5->CCR4 = 21000;
	  HAL_Delay(7000);
	  TIM5->CCR1 = 10500;
	  TIM5->CCR2 = 10500;
	  TIM5->CCR3 = 10500;
	  TIM5->CCR4 = 10500;
	  HAL_Delay(8000);
}

int Is_iBus_Received(void)
{
	if(ibus_rx_cplt_flag == 1)
	{
		ibus_rx_cplt_flag = 0;
		if(iBus_Check_CHKSUM(&ibus_rx_buf[0],32) == 1)
		{
			iBus_Parsing(&ibus_rx_buf[0], &iBus);
			return 1;
		}
	}

	return 0;
}

void BNO080_Calibration(void)
{
	//Resets BNO080 to disable All output
	BNO080_Initialization();

	//BNO080/BNO085 Configuration
	//Enable dynamic calibration for accelerometer, gyroscope, and magnetometer
	//Enable Game Rotation Vector output
	//Enable Magnetic Field output
	BNO080_calibrateAll(); //Turn on cal for Accel, Gyro, and Mag
	BNO080_enableGameRotationVector(20000); //Send data update every 20ms (50Hz)
	BNO080_enableMagnetometer(20000); //Send data update every 20ms (50Hz)

	//Once magnetic field is 2 or 3, run the Save DCD Now command
  	printf("Calibrating BNO080. Pull up FS-i6 SWC to end calibration and save to flash\n");
  	printf("Output in form x, y, z, in uTesla\n\n");

	//while loop for calibration procedure
	//Iterates until iBus.SwC is mid point (1500)
	//Calibration procedure should be done while this loop is in iteration.
	while(iBus.SwC == 1500)
	{
		if(BNO080_dataAvailable() == 1)
		{
			//Observing the status bit of the magnetic field output
			float x = BNO080_getMagX();
			float y = BNO080_getMagY();
			float z = BNO080_getMagZ();
			unsigned char accuracy = BNO080_getMagAccuracy();

			float quatI = BNO080_getQuatI();
			float quatJ = BNO080_getQuatJ();
			float quatK = BNO080_getQuatK();
			float quatReal = BNO080_getQuatReal();
			unsigned char sensorAccuracy = BNO080_getQuatAccuracy();

			printf("%f,%f,%f,", x, y, z);
			if (accuracy == 0) printf("Unreliable\t");
			else if (accuracy == 1) printf("Low\t");
			else if (accuracy == 2) printf("Medium\t");
			else if (accuracy == 3) printf("High\t");

			printf("\t%f,%f,%f,%f,", quatI, quatJ, quatK, quatReal);
			if (sensorAccuracy == 0) printf("Unreliable\n");
			else if (sensorAccuracy == 1) printf("Low\n");
			else if (sensorAccuracy == 2) printf("Medium\n");
			else if (sensorAccuracy == 3) printf("High\n");

			//Turn the LED and buzzer on when both accuracy and sensorAccuracy is high
			if(accuracy == 3 && sensorAccuracy == 3)
			{
				LL_GPIO_SetOutputPin(GPIOC, LL_GPIO_PIN_0 | LL_GPIO_PIN_1 | LL_GPIO_PIN_2);
				TIM3->PSC = 65000; //Very low frequency
				LL_TIM_CC_EnableChannel(TIM3, LL_TIM_CHANNEL_CH4);
			}
			else
			{
				LL_GPIO_ResetOutputPin(GPIOC, LL_GPIO_PIN_0 | LL_GPIO_PIN_1 | LL_GPIO_PIN_2);
				LL_TIM_CC_DisableChannel(TIM3, LL_TIM_CHANNEL_CH4);
			}
		}

		Is_iBus_Received(); //Refreshes iBus Data for iBus.SwC
		HAL_Delay(100);
	}

	//Ends the loop when iBus.SwC is not mid point
	//Turn the LED and buzzer off
	LL_GPIO_ResetOutputPin(GPIOC, LL_GPIO_PIN_0 | LL_GPIO_PIN_1 | LL_GPIO_PIN_2);
	LL_TIM_CC_DisableChannel(TIM3, LL_TIM_CHANNEL_CH4);

	//Saves the current dynamic calibration data (DCD) to memory
	//Sends command to get the latest calibration status
	BNO080_saveCalibration();
	BNO080_requestCalibrationStatus();

	//Wait for calibration response, timeout if no response
	int counter = 100;
	while(1)
	{
		if(--counter == 0) break;
		if(BNO080_dataAvailable())
		{
			//The IMU can report many different things. We must wait
			//for the ME Calibration Response Status byte to go to zero
			if(BNO080_calibrationComplete() == 1)
			{
				printf("\nCalibration data successfully stored\n");
				LL_TIM_CC_EnableChannel(TIM3, LL_TIM_CHANNEL_CH4);
				TIM3->PSC = 2000;
				HAL_Delay(300);
				TIM3->PSC = 1500;
				HAL_Delay(300);
				LL_TIM_CC_DisableChannel(TIM3, LL_TIM_CHANNEL_CH4);
				HAL_Delay(1000);
				break;
			}
		}
		HAL_Delay(10);
	}
	if(counter == 0)
	{
		printf("\nCalibration data failed to store. Please try again.\n");
		LL_TIM_CC_EnableChannel(TIM3, LL_TIM_CHANNEL_CH4);
		TIM3->PSC = 1500;
		HAL_Delay(300);
		TIM3->PSC = 2000;
		HAL_Delay(300);
		LL_TIM_CC_DisableChannel(TIM3, LL_TIM_CHANNEL_CH4);
		HAL_Delay(1000);
	}

	//BNO080_endCalibration(); //Turns off all calibration
	//In general, calibration should be left on at all times. The BNO080
	//auto-calibrates and auto-records cal data roughly every 5 minutes

	//Resets BNO080 to disable Game Rotation Vector and Magnetometer
	//Enables Rotation Vector
	BNO080_Initialization();
	BNO080_enableRotationVector(2500); //Send data update every 2.5ms (400Hz)
}

void HAL_UART_RxCpltCallback(UART_HandleTypeDef *huart)
{
	// GCS
	static unsigned char cnt = 0;

	if(huart->Instance == USART1)
	{
		// receive data to second argument, uart1_rx_data
		HAL_UART_Receive_IT(&huart1, &uart1_rx_data, 1);

		switch(cnt)
		{
		case 0:
			if(uart1_rx_data == 0x47)
			{
				telemetry_rx_buf[cnt] = uart1_rx_data;
				cnt++;
			}
			break;
		case 1:
			if(uart1_rx_data == 0x53)
			{
				telemetry_rx_buf[cnt] = uart1_rx_data;
				cnt++;
			}
			else
				cnt = 0;
			break;
		case 19:
			telemetry_rx_buf[cnt] = uart1_rx_data;
			cnt = 0;
			telemetry_rx_cplt_flag = 1;
			break;
		default:
			telemetry_rx_buf[cnt] = uart1_rx_data;
			cnt++;
			break;
		}
	}
}

void Encode_Msg_AHRS(unsigned char* telemetry_tx_buf)
{
	  telemetry_tx_buf[0] = 0x46;
	  telemetry_tx_buf[1] = 0x43;

	  telemetry_tx_buf[2] = 0x10;

	  telemetry_tx_buf[3] = (short)(BNO080_Roll*100);
	  telemetry_tx_buf[4] = ((short)(BNO080_Roll*100))>>8;

	  telemetry_tx_buf[5] = (short)(BNO080_Pitch*100);
	  telemetry_tx_buf[6] = ((short)(BNO080_Pitch*100))>>8;

	  telemetry_tx_buf[7] = (unsigned short)(BNO080_Yaw*100);
	  telemetry_tx_buf[8] = ((unsigned short)(BNO080_Yaw*100))>>8;

	  telemetry_tx_buf[9] = (short)(LPS22HH.baroAltFilt*10);
	  telemetry_tx_buf[10] = ((short)(LPS22HH.baroAltFilt*10))>>8;

	  telemetry_tx_buf[11] = (short)((iBus.RH-1500)*0.1f*100);
	  telemetry_tx_buf[12] = ((short)((iBus.RH-1500)*0.1f*100))>>8;

	  telemetry_tx_buf[13] = (short)((iBus.RV-1500)*0.1f*100);
	  telemetry_tx_buf[14] = ((short)((iBus.RV-1500)*0.1f*100))>>8;

	  telemetry_tx_buf[15] = (unsigned short)((iBus.LH-1000)*0.36f*100);
	  telemetry_tx_buf[16] = ((unsigned short)((iBus.LH-1000)*0.36f*100))>>8;

	  telemetry_tx_buf[17] = (short)(iBus.LV*10);
	  telemetry_tx_buf[18] = ((short)(iBus.LV*10))>>8;

	  telemetry_tx_buf[19] = 0xff;

	  for (int i = 0; i < 19; i++)
	  {
		  telemetry_tx_buf[19] = telemetry_tx_buf[19] - telemetry_tx_buf[i];
	  }
}

void Encode_Msg_GPS(unsigned char* telemetry_tx_buf)
{
	  telemetry_tx_buf[0] = 0x46;
	  telemetry_tx_buf[1] = 0x43;

	  telemetry_tx_buf[2] = 0x11;

	  telemetry_tx_buf[3] = posllh.lat;
	  telemetry_tx_buf[4] = posllh.lat>>8;
	  telemetry_tx_buf[5] = posllh.lat>>16;
	  telemetry_tx_buf[6] = posllh.lat>>24;

	  telemetry_tx_buf[7] = posllh.lon;
	  telemetry_tx_buf[8] = posllh.lon>>8;
	  telemetry_tx_buf[9] = posllh.lon>>16;
	  telemetry_tx_buf[10] = posllh.lon>>24;

	  telemetry_tx_buf[11] = (unsigned short)(batVolt*100);
	  telemetry_tx_buf[12] = ((unsigned short)(batVolt*100))>>8;

	  telemetry_tx_buf[13] = iBus.SwA == 1000 ? 0 : 1;
	  telemetry_tx_buf[14] = iBus.SwC == 1000 ? 0 : iBus.SwC == 1500 ? 1:2;

	  telemetry_tx_buf[15] = iBus_isActiveFailsafe(&iBus);

	  telemetry_tx_buf[16] = 0x00;
	  telemetry_tx_buf[17] = 0x00;
	  telemetry_tx_buf[18] = 0x00;

	  telemetry_tx_buf[19] = 0xff;

	  for (int i = 0; i < 19; i++)
	  {
		  telemetry_tx_buf[19] = telemetry_tx_buf[19] - telemetry_tx_buf[i];
	  }
}

void Encode_Msg_PID_Gain(unsigned char* telemetry_tx_buf, unsigned char id, float p, float i, float d)
{
	  telemetry_tx_buf[0] = 0x46;
	  telemetry_tx_buf[1] = 0x43;

	  telemetry_tx_buf[2] = id;

	  // method 1. using memcpy
//	  memcpy(&telemetry_tx_buf[3], &p, 4);
//	  memcpy(&telemetry_tx_buf[7], &i, 4);
//	  memcpy(&telemetry_tx_buf[11], &d, 4);

	  // method 2. using pointer address forward
	  *(float*)&telemetry_tx_buf[3] = p;
	  *(float*)&telemetry_tx_buf[7] = i;
	  *(float*)&telemetry_tx_buf[11] = d;

	  telemetry_tx_buf[15] = 0x00;
	  telemetry_tx_buf[16] = 0x00;
	  telemetry_tx_buf[17] = 0x00;
	  telemetry_tx_buf[18] = 0x00;

	  telemetry_tx_buf[19] = 0xff;

	  for (int i = 0; i < 19; i++)
	  {
		  telemetry_tx_buf[19] = telemetry_tx_buf[19] - telemetry_tx_buf[i];
	  }
}
/* USER CODE END 4 */

void Error_Handler(void)
{
}

/************************ (C) COPYRIGHT STMicroelectronics *****END OF FILE****/
